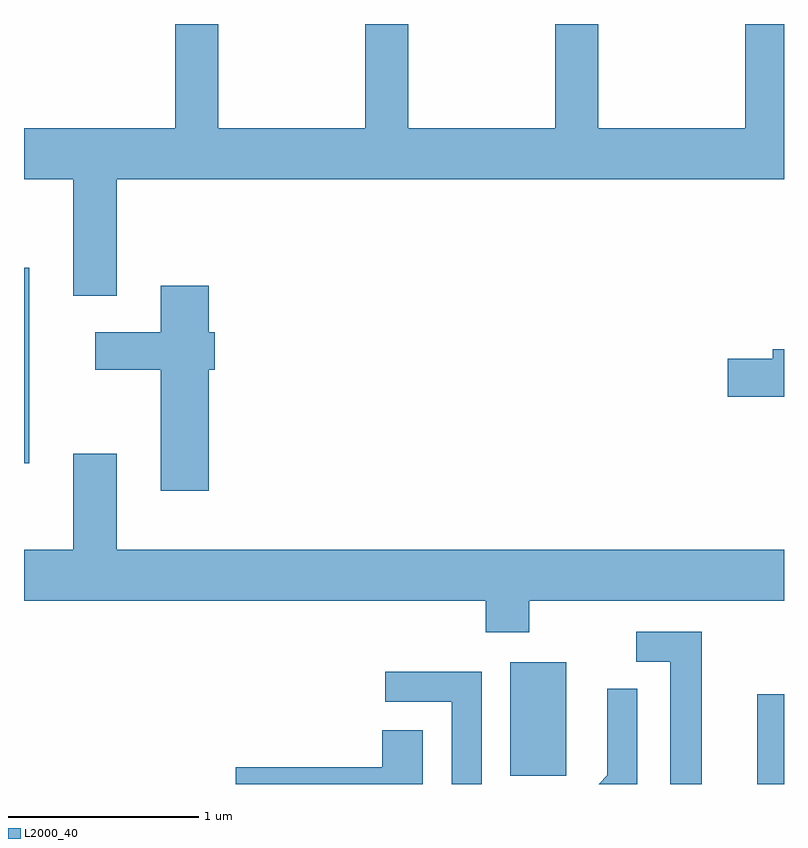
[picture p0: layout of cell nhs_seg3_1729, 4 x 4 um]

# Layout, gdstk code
import gdstk
lib = gdstk.Library(unit=1e-6, precision=1e-09)
def R(c, l, rs):  # rectangles x0, y0, x1, y1
    for r in rs: c.add(gdstk.rectangle(r[:2], r[2:], *l))
def P(c, l, *ps):  # polygons
    for p in ps: c.add(gdstk.Polygon(p, *l))
L2000_40 = (2000, 40)

nhs_seg3_1729 = lib.new_cell('nhs_seg3_1729')
R(nhs_seg3_1729, L2000_40, [(239.471,1173.892,239.611,1174.364), (238.171,1173.936,238.464,1174.534), (235.611,1175.581,235.639,1176.609)])
P(nhs_seg3_1729, L2000_40, [(236.099,1177.076),(239.611,1177.076),(239.611,1177.892),(239.406,1177.892),(239.406,1177.344),(238.634,1177.344),(238.634,1177.892),(238.406,1177.892),(238.406,1177.344),(237.634,1177.344),(237.634,1177.892),(237.406,1177.892),(237.406,1177.344),(236.634,1177.344),(236.634,1177.892),(236.406,1177.892),(236.406,1177.344),(235.611,1177.344),(235.611,1177.076),(235.871,1177.076),(235.871,1176.461),(236.099,1176.461)],
  [(236.584,1176.071),(236.614,1176.071),(236.614,1176.269),(236.584,1176.269),(236.584,1176.514),(236.331,1176.514),(236.331,1176.269),(235.986,1176.269),(235.986,1176.071),(236.331,1176.071),(236.331,1175.436),(236.584,1175.436)],
  [(239.611,1176.179),(239.551,1176.179),(239.551,1176.129),(239.316,1176.129),(239.316,1175.931),(239.611,1175.931)],
  [(238.269,1174.856),(239.611,1174.856),(239.611,1175.124),(236.099,1175.124),(236.099,1175.629),(235.871,1175.629),(235.871,1175.124),(235.611,1175.124),(235.611,1174.856),(238.041,1174.856),(238.041,1174.691),(238.269,1174.691)],
  [(239.179,1174.694),(238.833,1174.694),(238.833,1174.536),(239.011,1174.536),(239.011,1173.892),(239.179,1173.892)],
  [(238.019,1174.484),(237.513,1174.484),(237.513,1174.326),(237.861,1174.326),(237.861,1173.892),(238.019,1173.892)],
  [(238.839,1174.393),(238.681,1174.393),(238.681,1173.937),(238.636,1173.892),(238.839,1173.892)],
  [(237.709,1174.174),(237.496,1174.174),(237.496,1173.979),(236.726,1173.979),(236.726,1173.892),(237.709,1173.892)])

lib.write_gds('nhs_seg3_1729.gds')
